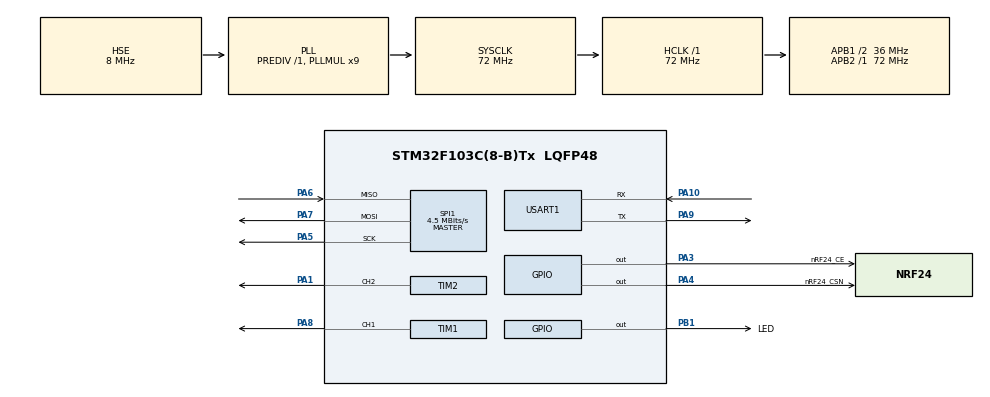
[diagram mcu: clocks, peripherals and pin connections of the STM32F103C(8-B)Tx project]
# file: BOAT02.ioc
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Mcu.Family=STM32F1
Mcu.Name=STM32F103C(8-B)Tx
Mcu.Package=LQFP48
NVIC.PriorityGroup=NVIC_PRIORITYGROUP_4
PA1.Signal=S_TIM2_CH2
PA10.Mode=Asynchronous
PA10.Signal=USART1_RX
PA13.Mode=Serial_Wire
PA13.Signal=SYS_JTMS-SWDIO
PA14.Mode=Serial_Wire
PA14.Signal=SYS_JTCK-SWCLK
PA3.GPIO_Label=nRF24_CE
PA3.Signal=GPIO_Output
PA4.GPIO_Label=nRF24_CSN
PA4.Signal=GPIO_Output
PA5.Mode=Full_Duplex_Master
PA5.Signal=SPI1_SCK
PA6.Mode=Full_Duplex_Master
PA6.Signal=SPI1_MISO
PA7.Mode=Full_Duplex_Master
PA7.Signal=SPI1_MOSI
PA8.Signal=S_TIM1_CH1
PA9.Mode=Asynchronous
PA9.Signal=USART1_TX
PB1.GPIO_Label=LED
PB1.Signal=GPIO_Output
PD0-OSC_IN.Mode=HSE-External-Oscillator
PD0-OSC_IN.Signal=RCC_OSC_IN
PD1-OSC_OUT.Mode=HSE-External-Oscillator
PD1-OSC_OUT.Signal=RCC_OSC_OUT
ProjectManager.HeapSize=0x200
ProjectManager.StackSize=0x400
ProjectManager.TargetToolchain=STM32CubeIDE
RCC.AHBFreq_Value=72000000
RCC.APB1CLKDivider=RCC_HCLK_DIV2
RCC.APB1Freq_Value=36000000
RCC.APB1TimFreq_Value=72000000
RCC.APB2Freq_Value=72000000
RCC.APB2TimFreq_Value=72000000
RCC.HCLKFreq_Value=72000000
RCC.PLLMUL=RCC_PLL_MUL9
RCC.PLLSourceVirtual=RCC_PLLSOURCE_HSE
RCC.SYSCLKFreq_VALUE=72000000
RCC.SYSCLKSource=RCC_SYSCLKSOURCE_PLLCLK
RCC.USBFreq_Value=72000000
SH.S_TIM1_CH1.0=TIM1_CH1,PWM Generation1 CH1
SH.S_TIM2_CH2.0=TIM2_CH2,PWM Generation2 CH2
SPI1.BaudRatePrescaler=SPI_BAUDRATEPRESCALER_16
SPI1.CalculateBaudRate=4.5 MBits/s
SPI1.Direction=SPI_DIRECTION_2LINES
SPI1.Mode=SPI_MODE_MASTER
SPI1.VirtualType=VM_MASTER
TIM1.Channel-PWM\ Generation1\ CH1=TIM_CHANNEL_1
TIM1.Period=19999
TIM1.Prescaler=71
TIM2.AutoReloadPreload=TIM_AUTORELOAD_PRELOAD_ENABLE
TIM2.Channel-PWM\ Generation2\ CH2=TIM_CHANNEL_2
TIM2.Period=19999
TIM2.Prescaler=71
TIM2.Pulse-PWM\ Generation2\ CH2=1500
USART1.VirtualMode=VM_ASYNC
VP_TIM1_VS_ClockSourceINT.Mode=Internal
VP_TIM2_VS_ClockSourceINT.Mode=Internal
board=custom

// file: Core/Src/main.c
/* USER CODE BEGIN Header */
/**
  ******************************************************************************
  * @file           : main.c
  * @brief          : Main program body
  ******************************************************************************
  * @attention
  *
  * Copyright (c) 2026 STMicroelectronics.
  * All rights reserved.
  *
  * This software is licensed under terms that can be found in the LICENSE file
  * in the root directory of this software component.
  * If no LICENSE file comes with this software, it is provided AS-IS.
  *
  ******************************************************************************
  */
/* USER CODE END Header */
#include "main.h"

/* USER CODE BEGIN Includes */
#include "nrf24l01.h"
/* USER CODE END Includes */

SPI_HandleTypeDef hspi1;

TIM_HandleTypeDef htim1;
TIM_HandleTypeDef htim2;

UART_HandleTypeDef huart1;

/* USER CODE BEGIN PV */
uint8_t rx_buffer[32];
/* USER CODE END PV */

void SystemClock_Config(void);
static void MX_GPIO_Init(void);
static void MX_SPI1_Init(void);
static void MX_USART1_UART_Init(void);
static void MX_TIM2_Init(void);
static void MX_TIM1_Init(void);

/* USER CODE BEGIN 0 */
#define LED_ON()    HAL_GPIO_WritePin(LED_GPIO_Port, LED_Pin, GPIO_PIN_SET)
#define LED_OFF()   HAL_GPIO_WritePin(LED_GPIO_Port, LED_Pin, GPIO_PIN_RESET)
#define LED_TOGGLE() HAL_GPIO_TogglePin(LED_GPIO_Port, LED_Pin)

void LED_Blink(uint8_t times, uint16_t delay_ms) {
    for (uint8_t i = 0; i < times; i++) {
        LED_ON();
        HAL_Delay(delay_ms);
        LED_OFF();
        HAL_Delay(delay_ms);
    }
}

/**
  * @brief 设置舵机角度
  * @param angle: 0 ~ 180 度
  */
void Servo_SetAngle(uint8_t angle) {
    // TIM2 配置：预分频 71，周期 19999 -> 50Hz，1μs 计数
    // 0.5ms = 500, 2.5ms = 2500
    uint32_t pulse = 500 + ((uint32_t)angle * 2000UL) / 180UL;
    __HAL_TIM_SET_COMPARE(&htim2, TIM_CHANNEL_2, pulse);
}
// 电调控制宏定义
#define THROTTLE_MIN 1000 // 1ms, 0%油门
#define THROTTLE_MAX 2000 // 2ms, 100%油门

/**
 * @brief 设置电机油门
 * @param throttle: 油门值，范围 [0, 1000]
 * @note  0 = 停转 (1ms), 1000 = 全速 (2ms)
 */
void Motor_SetThrottle(uint16_t throttle) {
    // 简单的范围限制
    if (throttle > 1000) throttle = 1000;
    // 将0-1000的油门值映射到1000-2000的脉宽值
    uint16_t pulse = THROTTLE_MIN + throttle;
    __HAL_TIM_SET_COMPARE(&htim1, TIM_CHANNEL_1, pulse);
}

/**
 * @brief 电调解锁/油门行程校准（推荐使用）
 * @note  这个函数会阻塞运行，并在校准完成后自动启动PWM。
 */
void ESC_Calibration(void) {
    // 1. 先输出一个"安全"信号，启动PWM
    Motor_SetThrottle(0);
    HAL_TIM_PWM_Start(&htim1, TIM_CHANNEL_1);
    HAL_Delay(2000);

    // 2. 发送最高油门信号
    __HAL_TIM_SET_COMPARE(&htim1, TIM_CHANNEL_1, THROTTLE_MAX);
    HAL_Delay(2000);

    // 3. 发送最低油门信号
    __HAL_TIM_SET_COMPARE(&htim1, TIM_CHANNEL_1, THROTTLE_MIN);
    HAL_Delay(2000);

    // 校准完成，PWM 持续输出最低油门
}
/* USER CODE END 0 */

int main(void)
{

  /* MCU Configuration--------------------------------------------------------*/

  /* Reset of all peripherals, Initializes the Flash interface and the Systick. */
  HAL_Init();

  /* Configure the system clock */
  SystemClock_Config();

  /* Initialize all configured peripherals */
  MX_GPIO_Init();
  MX_SPI1_Init();
  MX_USART1_UART_Init();
  MX_TIM2_Init();
  MX_TIM1_Init();
  /* USER CODE BEGIN 2 */
  // 启动PWM，舵机初始居中
  HAL_TIM_PWM_Start(&htim2, TIM_CHANNEL_2);
  Servo_SetAngle(90);

  // 启动指示：快闪3次
  LED_Blink(3, 100);

  // 初始化NRF24L01
  NRF24L01_Init();
  // 进行一次电调校准
  ESC_Calibration();

  // 自检：成功快闪5次，失败慢闪
  if (NRF24L01_Check()) {
      LED_Blink(5, 50);
  } else {
      while (1) {
          LED_TOGGLE();
          HAL_Delay(500);
      }
  }

  // 进入接收模式
  NRF24L01_RXMode();

  // 可选：验证CONFIG寄存器（调试时可保留）
  uint8_t cfg = NRF24L01_ReadReg(NRF_CONFIG);
  if ((cfg & 0x0F) != 0x0F) {
      LED_Blink(10, 100);  // 配置异常告警
      while(1);
  }
  /* USER CODE END 2 */

  /* Infinite loop */
  while (1)
  {

  /* USER CODE BEGIN 3 */
      uint8_t rx_data[32];
      uint8_t len = NRF24L01_ReceivePacket(rx_data);

      if (len >= 3) {
          uint8_t angle = rx_data[0];                    // 字节0：舵机角度
          uint16_t throttle = ((uint16_t)rx_data[1] << 8) | rx_data[2];     // 字节1：油门值（直接取，≤1000）

          // 分别控制舵机和电机
          Servo_SetAngle(angle);
          Motor_SetThrottle(throttle);

          // LED反馈：点亮时间与油门大小成正比
          uint16_t on_time = 10 + (throttle * 190 / 1000);
          LED_ON();
          HAL_Delay(on_time);
          LED_OFF();
          HAL_Delay(10);
      }
      HAL_Delay(1);
  }
  /* USER CODE END 3 */
}

void SystemClock_Config(void)
{
  RCC_OscInitTypeDef RCC_OscInitStruct = {0};
  RCC_ClkInitTypeDef RCC_ClkInitStruct = {0};

  /** Initializes the RCC Oscillators according to the specified parameters
  * in the RCC_OscInitTypeDef structure.
  */
  RCC_OscInitStruct.OscillatorType = RCC_OSCILLATORTYPE_HSE;
  RCC_OscInitStruct.HSEState = RCC_HSE_ON;
  RCC_OscInitStruct.HSEPredivValue = RCC_HSE_PREDIV_DIV1;
  RCC_OscInitStruct.HSIState = RCC_HSI_ON;
  RCC_OscInitStruct.PLL.PLLState = RCC_PLL_ON;
  RCC_OscInitStruct.PLL.PLLSource = RCC_PLLSOURCE_HSE;
  RCC_OscInitStruct.PLL.PLLMUL = RCC_PLL_MUL9;
  if (HAL_RCC_OscConfig(&RCC_OscInitStruct) != HAL_OK)
  {
    Error_Handler();
  }

  /** Initializes the CPU, AHB and APB buses clocks
  */
  RCC_ClkInitStruct.ClockType = RCC_CLOCKTYPE_HCLK|RCC_CLOCKTYPE_SYSCLK
                              |RCC_CLOCKTYPE_PCLK1|RCC_CLOCKTYPE_PCLK2;
  RCC_ClkInitStruct.SYSCLKSource = RCC_SYSCLKSOURCE_PLLCLK;
  RCC_ClkInitStruct.AHBCLKDivider = RCC_SYSCLK_DIV1;
  RCC_ClkInitStruct.APB1CLKDivider = RCC_HCLK_DIV2;
  RCC_ClkInitStruct.APB2CLKDivider = RCC_HCLK_DIV1;

  if (HAL_RCC_ClockConfig(&RCC_ClkInitStruct, FLASH_LATENCY_2) != HAL_OK)
  {
    Error_Handler();
  }
}

static void MX_SPI1_Init(void)
{

  /* SPI1 parameter configuration*/
  hspi1.Instance = SPI1;
  hspi1.Init.Mode = SPI_MODE_MASTER;
  hspi1.Init.Direction = SPI_DIRECTION_2LINES;
  hspi1.Init.DataSize = SPI_DATASIZE_8BIT;
  hspi1.Init.CLKPolarity = SPI_POLARITY_LOW;
  hspi1.Init.CLKPhase = SPI_PHASE_1EDGE;
  hspi1.Init.NSS = SPI_NSS_SOFT;
  hspi1.Init.BaudRatePrescaler = SPI_BAUDRATEPRESCALER_16;
  hspi1.Init.FirstBit = SPI_FIRSTBIT_MSB;
  hspi1.Init.TIMode = SPI_TIMODE_DISABLE;
  hspi1.Init.CRCCalculation = SPI_CRCCALCULATION_DISABLE;
  hspi1.Init.CRCPolynomial = 10;
  if (HAL_SPI_Init(&hspi1) != HAL_OK)
  {
    Error_Handler();
  }

}

static void MX_TIM1_Init(void)
{

  TIM_ClockConfigTypeDef sClockSourceConfig = {0};
  TIM_MasterConfigTypeDef sMasterConfig = {0};
  TIM_OC_InitTypeDef sConfigOC = {0};
  TIM_BreakDeadTimeConfigTypeDef sBreakDeadTimeConfig = {0};

  htim1.Instance = TIM1;
  htim1.Init.Prescaler = 71;
  htim1.Init.CounterMode = TIM_COUNTERMODE_UP;
  htim1.Init.Period = 19999;
  htim1.Init.ClockDivision = TIM_CLOCKDIVISION_DIV1;
  htim1.Init.RepetitionCounter = 0;
  htim1.Init.AutoReloadPreload = TIM_AUTORELOAD_PRELOAD_DISABLE;
  if (HAL_TIM_Base_Init(&htim1) != HAL_OK)
  {
    Error_Handler();
  }
  sClockSourceConfig.ClockSource = TIM_CLOCKSOURCE_INTERNAL;
  if (HAL_TIM_ConfigClockSource(&htim1, &sClockSourceConfig) != HAL_OK)
  {
    Error_Handler();
  }
  if (HAL_TIM_PWM_Init(&htim1) != HAL_OK)
  {
    Error_Handler();
  }
  sMasterConfig.MasterOutputTrigger = TIM_TRGO_RESET;
  sMasterConfig.MasterSlaveMode = TIM_MASTERSLAVEMODE_DISABLE;
  if (HAL_TIMEx_MasterConfigSynchronization(&htim1, &sMasterConfig) != HAL_OK)
  {
    Error_Handler();
  }
  sConfigOC.OCMode = TIM_OCMODE_PWM1;
  sConfigOC.Pulse = 0;
  sConfigOC.OCPolarity = TIM_OCPOLARITY_HIGH;
  sConfigOC.OCNPolarity = TIM_OCNPOLARITY_HIGH;
  sConfigOC.OCFastMode = TIM_OCFAST_DISABLE;
  sConfigOC.OCIdleState = TIM_OCIDLESTATE_RESET;
  sConfigOC.OCNIdleState = TIM_OCNIDLESTATE_RESET;
  if (HAL_TIM_PWM_ConfigChannel(&htim1, &sConfigOC, TIM_CHANNEL_1) != HAL_OK)
  {
    Error_Handler();
  }
  sBreakDeadTimeConfig.OffStateRunMode = TIM_OSSR_DISABLE;
  sBreakDeadTimeConfig.OffStateIDLEMode = TIM_OSSI_DISABLE;
  sBreakDeadTimeConfig.LockLevel = TIM_LOCKLEVEL_OFF;
  sBreakDeadTimeConfig.DeadTime = 0;
  sBreakDeadTimeConfig.BreakState = TIM_BREAK_DISABLE;
  sBreakDeadTimeConfig.BreakPolarity = TIM_BREAKPOLARITY_HIGH;
  sBreakDeadTimeConfig.AutomaticOutput = TIM_AUTOMATICOUTPUT_DISABLE;
  if (HAL_TIMEx_ConfigBreakDeadTime(&htim1, &sBreakDeadTimeConfig) != HAL_OK)
  {
    Error_Handler();
  }
  HAL_TIM_MspPostInit(&htim1);

}

static void MX_TIM2_Init(void)
{

  TIM_ClockConfigTypeDef sClockSourceConfig = {0};
  TIM_MasterConfigTypeDef sMasterConfig = {0};
  TIM_OC_InitTypeDef sConfigOC = {0};

  htim2.Instance = TIM2;
  htim2.Init.Prescaler = 71;
  htim2.Init.CounterMode = TIM_COUNTERMODE_UP;
  htim2.Init.Period = 19999;
  htim2.Init.ClockDivision = TIM_CLOCKDIVISION_DIV1;
  htim2.Init.AutoReloadPreload = TIM_AUTORELOAD_PRELOAD_ENABLE;
  if (HAL_TIM_Base_Init(&htim2) != HAL_OK)
  {
    Error_Handler();
  }
  sClockSourceConfig.ClockSource = TIM_CLOCKSOURCE_INTERNAL;
  if (HAL_TIM_ConfigClockSource(&htim2, &sClockSourceConfig) != HAL_OK)
  {
    Error_Handler();
  }
  if (HAL_TIM_PWM_Init(&htim2) != HAL_OK)
  {
    Error_Handler();
  }
  sMasterConfig.MasterOutputTrigger = TIM_TRGO_RESET;
  sMasterConfig.MasterSlaveMode = TIM_MASTERSLAVEMODE_DISABLE;
  if (HAL_TIMEx_MasterConfigSynchronization(&htim2, &sMasterConfig) != HAL_OK)
  {
    Error_Handler();
  }
  sConfigOC.OCMode = TIM_OCMODE_PWM1;
  sConfigOC.Pulse = 1500;
  sConfigOC.OCPolarity = TIM_OCPOLARITY_HIGH;
  sConfigOC.OCFastMode = TIM_OCFAST_DISABLE;
  if (HAL_TIM_PWM_ConfigChannel(&htim2, &sConfigOC, TIM_CHANNEL_2) != HAL_OK)
  {
    Error_Handler();
  }
  HAL_TIM_MspPostInit(&htim2);

}

static void MX_USART1_UART_Init(void)
{

  huart1.Instance = USART1;
  huart1.Init.BaudRate = 115200;
  huart1.Init.WordLength = UART_WORDLENGTH_8B;
  huart1.Init.StopBits = UART_STOPBITS_1;
  huart1.Init.Parity = UART_PARITY_NONE;
  huart1.Init.Mode = UART_MODE_TX_RX;
  huart1.Init.HwFlowCtl = UART_HWCONTROL_NONE;
  huart1.Init.OverSampling = UART_OVERSAMPLING_16;
  if (HAL_UART_Init(&huart1) != HAL_OK)
  {
    Error_Handler();
  }

}

static void MX_GPIO_Init(void)
{
  GPIO_InitTypeDef GPIO_InitStruct = {0};

  /* GPIO Ports Clock Enable */
  __HAL_RCC_GPIOD_CLK_ENABLE();
  __HAL_RCC_GPIOA_CLK_ENABLE();
  __HAL_RCC_GPIOB_CLK_ENABLE();

  /*Configure GPIO pin Output Level */
  HAL_GPIO_WritePin(GPIOA, nRF24_CE_Pin|nRF24_CSN_Pin, GPIO_PIN_RESET);

  /*Configure GPIO pin Output Level */
  HAL_GPIO_WritePin(LED_GPIO_Port, LED_Pin, GPIO_PIN_RESET);

  /*Configure GPIO pins : nRF24_CE_Pin nRF24_CSN_Pin */
  GPIO_InitStruct.Pin = nRF24_CE_Pin|nRF24_CSN_Pin;
  GPIO_InitStruct.Mode = GPIO_MODE_OUTPUT_PP;
  GPIO_InitStruct.Pull = GPIO_NOPULL;
  GPIO_InitStruct.Speed = GPIO_SPEED_FREQ_LOW;
  HAL_GPIO_Init(GPIOA, &GPIO_InitStruct);

  /*Configure GPIO pin : LED_Pin */
  GPIO_InitStruct.Pin = LED_Pin;
  GPIO_InitStruct.Mode = GPIO_MODE_OUTPUT_PP;
  GPIO_InitStruct.Pull = GPIO_NOPULL;
  GPIO_InitStruct.Speed = GPIO_SPEED_FREQ_LOW;
  HAL_GPIO_Init(LED_GPIO_Port, &GPIO_InitStruct);

}

void Error_Handler(void)
{
  __disable_irq();
  while (1)
  {
  }
}
